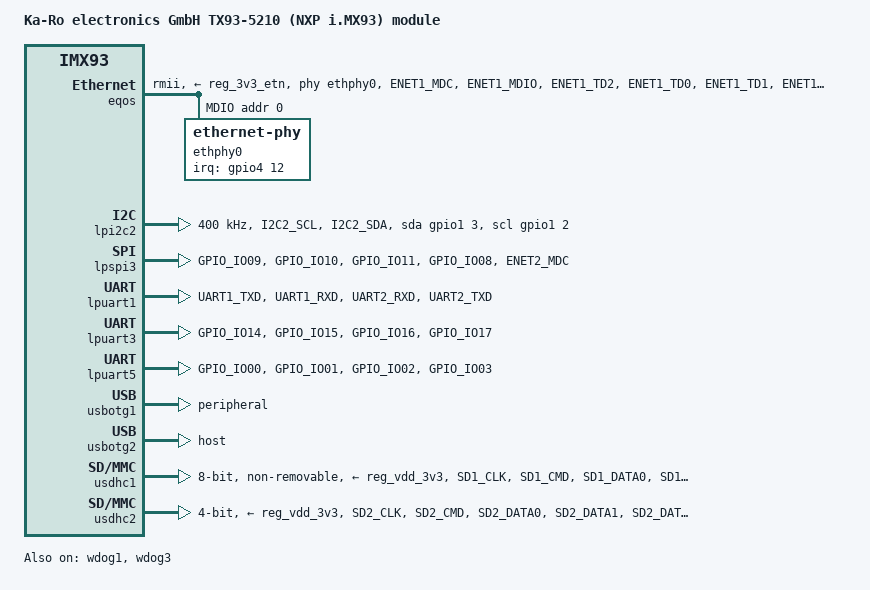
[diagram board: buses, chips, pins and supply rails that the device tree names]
// SPDX-License-Identifier: (GPL-2.0+ OR MIT)
/*
 * Copyright 2023 Lothar Waßmann <LW@KARO-electronics.de>
 * Copyright 2023 Markus Bauer <MB@KARO-electronics.de>
 */

/dts-v1/;

#include <dt-bindings/input/input.h>
#include "imx93-karo.dtsi"

/ {
	model = "Ka-Ro electronics GmbH TX93-5210 (NXP i.MX93) module";
	compatible = "karo,imx93-tx93-5210", "fsl,imx93";

	aliases {
		ethernet0 = &eqos;
		ethernet1 = &fec;
		i2c0 = &lpi2c1; /* module internal use */
		i2c1 = &lpi2c2;
		i2c2 = &lpi2c3;
		i2c3 = &lpi2c6;
		i2c4 = &lpi2c7;
		i2c5 = &lpi2c8;
		i2c6 = &lpi2c4;
		i2c7 = &lpi2c5;
		serial1 = &lpuart3;
		serial2 = &lpuart5;
		serial3 = &lpuart2;
		serial4 = &lpuart4;
		spi0 = &lpspi3;
		spi1 = &lpspi7;
		spi2 = &lpspi6; /* serial3 */
		spi3 = &lpspi8; /* serial2 */
		spi4 = &lpspi1; /* sai1 */
		spi5 = &lpspi2; /* serial1 */
		spi6 = &lpspi4; /* sai2, usbotg_vbusen */
		spi7 = &lpspi5; /* dto. */
		usbotg = &usbotg1;
	};
};

&eqos {
	pinctrl-names = "default", "sleep";
	pinctrl-0 = <&pinctrl_eqos_rmii &pinctrl_ethphy0_rst>;
	pinctrl-1 = <&pinctrl_eqos_rmii_sleep>;
	assigned-clock-parents = <
		&clk IMX93_CLK_SYS_PLL_PFD1_DIV2
		&clk IMX93_CLK_SYS_PLL_PFD1_DIV2
	>;
	assigned-clock-rates = <100000000>, <50000000>;
	snps,clk-csr = <6>;
	phy-mode = "rmii";
	phy-handle = <&ethphy0>;
	phy-supply = <&reg_3v3_etn>;
	status = "okay";

	mdio {
		compatible = "snps,dwmac-mdio";
		reset-gpios = <&gpio4 13 GPIO_ACTIVE_LOW>;
		reset-delay-us = <25000>;
		reset-post-delay-us = <100>;
		#address-cells = <1>;
		#size-cells = <0>;

		ethphy0: ethernet-phy@0 {
			reg = <0>;
			pinctrl-names = "default";
			pinctrl-0 = <&pinctrl_ethphy0_int>;
			interrupt-parent = <&gpio4>;
			interrupts = <12 IRQ_TYPE_EDGE_FALLING>;
			eee-broken-100tx;
			smsc,disable-energy-detect;
		};
	};
};

&fec {
	pinctrl-names = "default", "sleep";
	pinctrl-0 = <&pinctrl_fec_rgmii>;
	pinctrl-1 = <&pinctrl_fec_rgmii_sleep>;
	phy-supply = <&reg_3v3_etn>;
	status = "disabled";

	mdio {
		#address-cells = <1>;
		#size-cells = <0>;
		clock-frequency = <5000000>;
	};
};

&lpi2c2 {
	clock-frequency = <400000>;
	pinctrl-names = "default", "gpio";
	pinctrl-0 = <&pinctrl_lpi2c2>;
	pinctrl-1 = <&pinctrl_lpi2c2_gpio>;
	scl-gpios = <&gpio1 2 (GPIO_ACTIVE_HIGH | GPIO_OPEN_DRAIN)>;
	sda-gpios = <&gpio1 3 (GPIO_ACTIVE_HIGH | GPIO_OPEN_DRAIN)>;
	status = "okay";
};

&lpspi3 {
	pinctrl-names = "default";
	pinctrl-0 = <&pinctrl_lpspi3 &pinctrl_lpspi3_cs0 &pinctrl_lpspi3_cs1>;
	cs-gpios = <&gpio2 8 GPIO_ACTIVE_LOW &gpio4 14 GPIO_ACTIVE_LOW>;
	spi-max-frequency = <25000000>;
};

&lpuart1 { /* console */
	pinctrl-names = "default";
	pinctrl-0 = <&pinctrl_uart1 &pinctrl_uart1_rtscts>;
	uart-has-rtscts;
	status = "okay";
};

&lpuart2 {
	pinctrl-names = "default";
	pinctrl-0 = <&pinctrl_uart2>;
	status = "disabled";
};

&lpuart3 {
	pinctrl-names = "default";
	pinctrl-0 = <&pinctrl_uart3 &pinctrl_uart3_rtscts>;
	uart-has-rtscts;
	status = "okay";
};

&lpuart5 {
	pinctrl-names = "default";
	pinctrl-0 = <&pinctrl_uart5 &pinctrl_uart5_rtscts>;
	uart-has-rtscts;
	status = "okay";
};

&pmic {
	/* The PMIC IRQ line is not connected to the processor,
	 * but the driver requires an interrupt to be configured
	 */
	interrupt-parent = <&gpio1>;
	interrupts = <15 IRQ_TYPE_LEVEL_LOW>;
};

&usbotg1 {
	/* May be modified by U-Boot according to 'otg_mode' variable */
	dr_mode = "peripheral";
	hnp-disable;
	srp-disable;
	adp-disable;
	disable-over-current;
	samsung,picophy-pre-emp-curr-control = <3>;
	samsung,picophy-dc-vol-level-adjust = <7>;
	status = "okay";
};

&usbotg2 {
	dr_mode = "host";
	hnp-disable;
	srp-disable;
	adp-disable;
	disable-over-current;
	samsung,picophy-pre-emp-curr-control = <3>;
	samsung,picophy-dc-vol-level-adjust = <7>;
	status = "okay";
};

&usdhc1 { /* eMMC */
	pinctrl-names = "default";
	pinctrl-0 = <&pinctrl_usdhc1>;
	vmmc-supply = <&reg_vdd_3v3>;
	vqmmc-supply = <&reg_vdd_3v3>;
	bus-width = <8>;
	no-1-8-v;
	non-removable;
	status = "okay";
};

&usdhc2 {
	pinctrl-names = "default";
	pinctrl-0 = <&pinctrl_usdhc2>;
	vmmc-supply = <&reg_vdd_3v3>;
	vqmmc-supply = <&reg_vdd_3v3>;
	bus-width = <4>;
	no-1-8-v;
	no-sdio;
	no-mmc;
};

&wdog1 {
	pinctrl-names = "default";
	pinctrl-0 = <&pinctrl_wdog1>;
	fsl,ext-reset-output;
	status = "okay";
};

&wdog3 {
	status = "okay";
};

&iomuxc {
	pinctrl-names = "default";
	status = "okay";

	pinctrl_backlight0: backlight0grp {
		fsl,pins = <
			MX93_PAD_GPIO_IO04__GPIO2_IO04				0x1e
		>;
	};

	pinctrl_eqos_rmii: eqos-rmiigrp {
		fsl,pins = <
			MX93_PAD_ENET1_MDC__ENET_QOS_MDC			0x00e
			MX93_PAD_ENET1_MDIO__ENET_QOS_MDIO			0x40e
			MX93_PAD_ENET1_TD2__CCM_ENET_QOS_CLOCK_GENERATE_REF_CLK	0x4000011e
			MX93_PAD_ENET1_TD0__ENET_QOS_RGMII_TD0			0x11e
			MX93_PAD_ENET1_TD1__ENET_QOS_RGMII_TD1			0x11e
			MX93_PAD_ENET1_TX_CTL__ENET_QOS_RGMII_TX_CTL		0x11e
			/* SMSC LAN8710 strap pins: HIGH: 0x[23].. LOW: 0x[45].. */
			MX93_PAD_ENET1_RD0__ENET_QOS_RGMII_RD0			0x300 /* MODE0 */
			MX93_PAD_ENET1_RD1__ENET_QOS_RGMII_RD1			0x300 /* MODE1 */
			MX93_PAD_ENET1_RX_CTL__ENET_QOS_RGMII_RX_CTL		0x300 /* MODE2 (ext. pullup) */
			MX93_PAD_ENET1_RXC__GPIO4_IO09 /* not used for RMII */	0x400 /* PHYAD0/RXER */
		>;
	};

	pinctrl_eqos_rmii_sleep: eqos-rmii-sleepgrp {
		fsl,pins = <
			MX93_PAD_ENET1_MDC__ENET_QOS_MDC			0x000
			MX93_PAD_ENET1_MDIO__ENET_QOS_MDIO			0x400
			MX93_PAD_ENET1_TD2__CCM_ENET_QOS_CLOCK_GENERATE_REF_CLK	0x000
			MX93_PAD_ENET1_TD0__ENET_QOS_RGMII_TD0			0x400
			MX93_PAD_ENET1_TD1__ENET_QOS_RGMII_TD1			0x400
			MX93_PAD_ENET1_TX_CTL__ENET_QOS_RGMII_TX_CTL		0x400
			MX93_PAD_ENET1_RD0__ENET_QOS_RGMII_RD0			0x000
			MX93_PAD_ENET1_RD1__ENET_QOS_RGMII_RD1			0x000
			MX93_PAD_ENET1_RX_CTL__ENET_QOS_RGMII_RX_CTL		0x000
			MX93_PAD_ENET1_RXC__GPIO4_IO09				0x000
		>;
	};

	pinctrl_ethphy0_int: ethphy0-intgrp {
		fsl,pins = <
			MX93_PAD_ENET1_RD2__GPIO4_IO12				0x200
		>;
	};

	pinctrl_ethphy0_rst: ethphy0-rstgrp {
		fsl,pins = <
			MX93_PAD_ENET1_RD3__GPIO4_IO13				0x206
		>;
	};

	pinctrl_fec_rgmii: fec-rgmiigrp {
		fsl,pins = <
			/* conflicts with lpspi3_cs1 */
			MX93_PAD_ENET2_MDC__ENET1_MDC				0x01e
			MX93_PAD_ENET2_MDIO__ENET1_MDIO				0x01e

			MX93_PAD_ENET2_RD0__ENET1_RGMII_RD0			0x21e
			MX93_PAD_ENET2_RD1__ENET1_RGMII_RD1			0x21e
			MX93_PAD_ENET2_RD2__ENET1_RGMII_RD2			0x21e
			MX93_PAD_ENET2_RD3__ENET1_RGMII_RD3			0x21e
			MX93_PAD_ENET2_RX_CTL__ENET1_RGMII_RX_CTL		0x41e

			MX93_PAD_ENET2_RXC__ENET1_RGMII_RXC			0x09e
			MX93_PAD_ENET2_TD0__ENET1_RGMII_TD0			0x01e
			MX93_PAD_ENET2_TD1__ENET1_RGMII_TD1			0x01e
			MX93_PAD_ENET2_TD2__ENET1_RGMII_TD2			0x01e
			MX93_PAD_ENET2_TD3__ENET1_RGMII_TD3			0x01e
			MX93_PAD_ENET2_TXC__ENET1_RGMII_TXC			0x09e
			MX93_PAD_ENET2_TX_CTL__ENET1_RGMII_TX_CTL		0x01e
		>;
	};

	pinctrl_fec_rgmii_sleep: fec-rgmii-sleepgrp {
		fsl,pins = <
			MX93_PAD_ENET2_MDC__ENET1_MDC				0x000
			MX93_PAD_ENET2_MDIO__ENET1_MDIO				0x000
			MX93_PAD_ENET2_RD0__ENET1_RGMII_RD0			0x000
			MX93_PAD_ENET2_RD1__ENET1_RGMII_RD1			0x000
			MX93_PAD_ENET2_RD2__ENET1_RGMII_RD2			0x000
			MX93_PAD_ENET2_RD3__ENET1_RGMII_RD3			0x000
			MX93_PAD_ENET2_RX_CTL__ENET1_RGMII_RX_CTL		0x000
			MX93_PAD_ENET2_RXC__ENET1_RGMII_RXC			0x000
			MX93_PAD_ENET2_TD0__ENET1_RGMII_TD0			0x400
			MX93_PAD_ENET2_TD1__ENET1_RGMII_TD1			0x400
			MX93_PAD_ENET2_TD2__ENET1_RGMII_TD2			0x400
			MX93_PAD_ENET2_TD3__ENET1_RGMII_TD3			0x400
			MX93_PAD_ENET2_TXC__ENET1_RGMII_TXC			0x400
			MX93_PAD_ENET2_TX_CTL__ENET1_RGMII_TX_CTL		0x000
		>;
	};

	pinctrl_flexcan2: flexcan2grp {
		fsl,pins = <
			MX93_PAD_GPIO_IO25__CAN2_TX				0x129e
			MX93_PAD_GPIO_IO27__CAN2_RX				0x129e
		>;
	};

	pinctrl_flexspi: flexspigrp {
		fsl,pins = <
			MX93_PAD_SD3_CMD__FLEXSPI1_A_SS0_B			0x29e
			MX93_PAD_SD1_DATA3__FLEXSPI1_A_SS1_B			0x29e
			MX93_PAD_SD3_CLK__FLEXSPI1_A_SCLK			0x29e
			MX93_PAD_SD1_STROBE__FLEXSPI1_A_DQS			0x29e
			MX93_PAD_SD3_DATA0__FLEXSPI1_A_DATA00			0x29e
			MX93_PAD_SD3_DATA1__FLEXSPI1_A_DATA01			0x29e
			MX93_PAD_SD3_DATA2__FLEXSPI1_A_DATA02			0x29e
			MX93_PAD_SD3_DATA3__FLEXSPI1_A_DATA03			0x29e
			MX93_PAD_SD1_DATA4__FLEXSPI1_A_DATA04			0x29e
			MX93_PAD_SD1_DATA5__FLEXSPI1_A_DATA05			0x29e
			MX93_PAD_SD1_DATA6__FLEXSPI1_A_DATA06			0x29e
			MX93_PAD_SD1_DATA7__FLEXSPI1_A_DATA07			0x29e
		>;
	};

	pinctrl_keypad: keypadgrp {
		fsl,pins = <
			MX93_PAD_GPIO_IO05__GPIO2_IO05				0x1200
			MX93_PAD_GPIO_IO06__GPIO2_IO06				0x1200
			MX93_PAD_GPIO_IO12__GPIO2_IO12				0x1200
			MX93_PAD_GPIO_IO13__GPIO2_IO13				0x1200
			MX93_PAD_CCM_CLKO1__GPIO3_IO26				0x21e
			MX93_PAD_CCM_CLKO2__GPIO3_IO27				0x21e
			MX93_PAD_CCM_CLKO3__GPIO4_IO28				0x21e
			MX93_PAD_CCM_CLKO4__GPIO4_IO29				0x21e
		>;
	};

	pinctrl_lpi2c1: lpi2c1grp {
		fsl,pins = <
			MX93_PAD_I2C1_SCL__LPI2C1_SCL				0x40001a1e
			MX93_PAD_I2C1_SDA__LPI2C1_SDA				0x40001a1e
		>;
	};

	pinctrl_lpi2c1_gpio: lpi2c1-gpiogrp {
		fsl,pins = <
			MX93_PAD_I2C1_SCL__GPIO1_IO00				0x40001a1e
			MX93_PAD_I2C1_SDA__GPIO1_IO01				0x40001a1e
		>;
	};

	pinctrl_lpi2c2: lpi2c2grp {
		fsl,pins = <
			MX93_PAD_I2C2_SCL__LPI2C2_SCL				0x40001a1e
			MX93_PAD_I2C2_SDA__LPI2C2_SDA				0x40001a1e
		>;
	};

	pinctrl_lpi2c2_gpio: lpi2c2-gpiogrp {
		fsl,pins = <
			MX93_PAD_I2C2_SCL__GPIO1_IO02				0x40001a1e
			MX93_PAD_I2C2_SDA__GPIO1_IO03				0x40001a1e
		>;
	};

	pinctrl_lpspi3: lpspi3-grp {
		fsl,pins = <
			MX93_PAD_GPIO_IO09__LPSPI3_SIN				0x21e
			MX93_PAD_GPIO_IO10__LPSPI3_SOUT				0x01e
			MX93_PAD_GPIO_IO11__LPSPI3_SCK				0x01e
		>;
	};

	pinctrl_lpspi3_cs0: lpspi3-cs0grp {
		fsl,pins = <
			MX93_PAD_GPIO_IO08__GPIO2_IO08				0x400021e
		>;
	};

	pinctrl_lpspi3_cs1: lpspi3-cs1grp {
		fsl,pins = <
			/* conflicts with fec_rgmii */
			MX93_PAD_ENET2_MDC__GPIO4_IO14				0x400021e
		>;
	};

	pinctrl_uart1: uart1grp {
		fsl,pins = <
			MX93_PAD_UART1_TXD__LPUART1_TX				0x21e
			MX93_PAD_UART1_RXD__LPUART1_RX				0x21e
		>;
	};

	pinctrl_uart1_rtscts: uart1-rtsctsgrp {
		fsl,pins = <
			MX93_PAD_UART2_RXD__LPUART1_CTS_B			0x21e
			MX93_PAD_UART2_TXD__LPUART1_RTS_B			0x21e
		>;
	};

	pinctrl_uart2: uart2grp {
		fsl,pins = <
			MX93_PAD_UART2_TXD__LPUART2_TX				0x21e
			MX93_PAD_UART2_RXD__LPUART2_RX				0x21e
		>;
	};

	pinctrl_uart3: uart3grp {
		fsl,pins = <
			MX93_PAD_GPIO_IO14__LPUART3_TX				0x21e
			MX93_PAD_GPIO_IO15__LPUART3_RX				0x21e
		>;
	};

	pinctrl_uart3_rtscts: uart3-rtsctsgrp {
		fsl,pins = <
			MX93_PAD_GPIO_IO16__LPUART3_CTS_B			0x21e
			MX93_PAD_GPIO_IO17__LPUART3_RTS_B			0x21e
		>;
	};

	pinctrl_uart5: uart5grp {
		fsl,pins = <
			MX93_PAD_GPIO_IO00__LPUART5_TX				0x21e
			MX93_PAD_GPIO_IO01__LPUART5_RX				0x21e
		>;
	};

	pinctrl_uart5_rtscts: uart5-rtsctsgrp {
		fsl,pins = <
			MX93_PAD_GPIO_IO02__LPUART5_CTS_B			0x21e
			MX93_PAD_GPIO_IO03__LPUART5_RTS_B			0x21e
		>;
	};

	pinctrl_usdhc1: usdhc1grp {
		fsl,pins = <
			MX93_PAD_SD1_CLK__USDHC1_CLK				0x09e
			MX93_PAD_SD1_CMD__USDHC1_CMD				0x29e
			MX93_PAD_SD1_DATA0__USDHC1_DATA0			0x29e
			MX93_PAD_SD1_DATA1__USDHC1_DATA1			0x29e
			MX93_PAD_SD1_DATA2__USDHC1_DATA2			0x29e
			MX93_PAD_SD1_DATA3__USDHC1_DATA3			0x29e
			MX93_PAD_SD1_DATA4__USDHC1_DATA4			0x29e
			MX93_PAD_SD1_DATA5__USDHC1_DATA5			0x29e
			MX93_PAD_SD1_DATA6__USDHC1_DATA6			0x29e
			MX93_PAD_SD1_DATA7__USDHC1_DATA7			0x29e
			MX93_PAD_SD1_STROBE__USDHC1_STROBE			0x09e
		>;
	};

	pinctrl_usdhc2: usdhc2grp {
		fsl,pins = <
			MX93_PAD_SD2_CLK__USDHC2_CLK				0x1fe
			MX93_PAD_SD2_CMD__USDHC2_CMD				0x3fe
			MX93_PAD_SD2_DATA0__USDHC2_DATA0			0x3fe
			MX93_PAD_SD2_DATA1__USDHC2_DATA1			0x3fe
			MX93_PAD_SD2_DATA2__USDHC2_DATA2			0x3fe
			MX93_PAD_SD2_DATA3__USDHC2_DATA3			0x3fe
		>;
	};

	pinctrl_wdog1: wdog1grp {
		fsl,pins = <
			MX93_PAD_WDOG_ANY__WDOG1_WDOG_ANY			0x21e
		>;
	};
};
